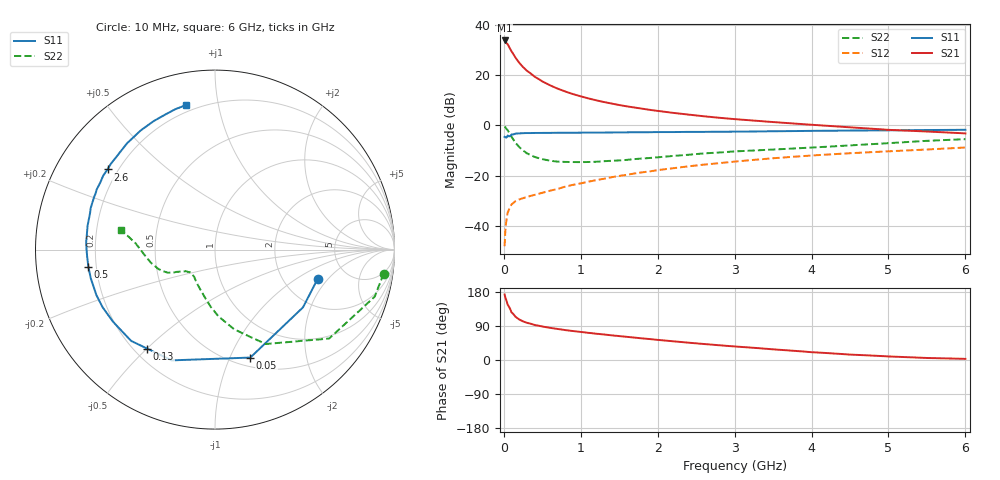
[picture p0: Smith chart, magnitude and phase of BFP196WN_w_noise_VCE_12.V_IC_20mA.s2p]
! Infineon Technologies  Discrete & RF Semiconductors
! BFP196WN
! VCE =  12. V,  IC =  20 mA
! Common Emitter S-Parameters:  Jan 2017
# GHz  S  MA  R  50
!  f  S11  S21  S12  S22
! GHz  MAG  ANG  MAG  ANG  MAG  ANG  MAG  ANG
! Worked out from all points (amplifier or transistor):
!   77 points, 10 MHz to 6 GHz, reference 50 ohm
!   highest |S21| = 33.8 dB at 10 MHz (marker M1)
!   |S21| within 3 dB of that: start of sweep to 76.06 MHz
!   unconditionally stable (mu >= 1): 956.3 MHz to 2.659 GHz
!   at 130 MHz: K = 0.31, MSG = 29.3 dB, |S12| = -30.6 dB
!   at 2.2 GHz: K = 1.03, MAG = 9.9 dB, |S12| = -17.0 dB
!   at 6 GHz: K = 0.87, MSG = 2.8 dB, |S12| = -8.8 dB
!   lowest NFmin = 0.96 dB at 450 MHz
!   S11 on the Smith chart (normalised r, x): 10 MHz: 3.10, -1.55; 50 MHz: 0.60, -1.19; 130 MHz: 0.25, -0.50; 500 MHz: 0.17, -0.06; 2.6 GHz: 0.16, +0.32; 6 GHz: 0.16, +0.81
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0.01  0.5953 -15.7  48.92 172.9  0.004 71.9  0.949 -8.1
0.02  0.5864 -33.3  46.73 164.8  0.0084 72.5  0.9277 -16.4
0.05  0.6329 -71.9  41.07 146.0  0.0187 60.9  0.8064 -37.9
0.1  0.6628 -111.4  29.75 125.7  0.0269 47.1  0.5971 -61.8
0.13  0.6686 -124.4  25.23 119.6  0.0295 43.4  0.5086 -69.7
0.15  0.6908 -132.6  22.43 114.3  0.0313 41.3  0.4566 -76.5
0.2  0.6959 -144.7  17.63 106.9  0.0339 39.6  0.3726 -87.0
0.25  0.7039 -152.9  14.46 101.9  0.036 39.6  0.3194 -94.3
0.3  0.7077 -158.9  12.23 98.2  0.038 40.7  0.28 -100.5
0.4  0.7104 -167.0  9.336 92.4  0.0418 44.2  0.2375 -110.0
0.5  0.7121 -172.4  7.512 88.4  0.046 47.5  0.2144 -117.6
0.6  0.7133 -176.7  6.29 84.9  0.0506 50.5  0.1999 -123.3
0.7  0.7159 179.8  5.392 81.9  0.0548 52.6  0.1911 -127.3
0.9  0.7186 174.0  4.2 76.4  0.0662 56.0  0.1877 -133.3
1.1  0.7221 169.5  3.45 71.7  0.0765 58.4  0.1881 -137.8
1.5  0.7301 161.6  2.548 63.1  0.0995 60.9  0.2023 -143.6
2.1  0.7396 151.3  1.864 51.3  0.1355 61.1  0.2407 -149.1
2.6  0.747 143.3  1.525 42.2  0.1667 59.6  0.2787 -152.8
3.1  0.7557 135.7  1.303 34.3  0.1978 57.0  0.3106 -157.1
4.1  0.7837 120.7  1.01 19.5  0.2587 50.2  0.3713 -170.3
5.1  0.8035 109.4  0.807 8.6  0.3119 43.0  0.455 174.3
6  0.8213 101.2  0.696 3.0  0.3649 36.8  0.535 168.3
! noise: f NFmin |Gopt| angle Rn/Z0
0.45  0.96  0.4  169  0.05
0.9  1.1  0.5  179  0.05
1.9  2.1  0.69  210  0.12
2.4  2.86  0.7  216  0.23
